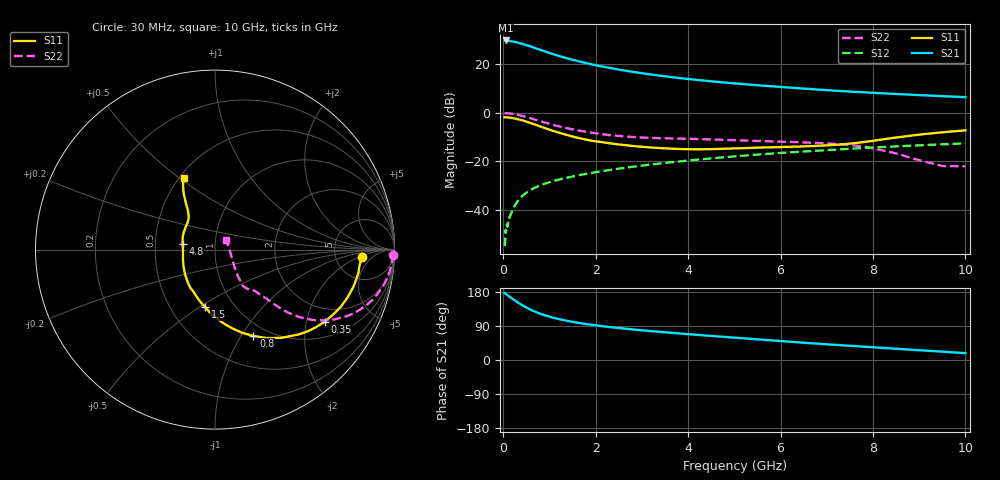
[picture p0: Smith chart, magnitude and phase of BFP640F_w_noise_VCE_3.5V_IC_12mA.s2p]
! Infineon Technologies  Discrete & RF Semiconductors
! BFP640F
! VCE =  3.5 V,  IC =  12 mA
! Common Emitter S-Parameters:  Apr 2013
# GHz  S  MA  R  50
!  f  S11  S21  S12  S22
! GHz  MAG  ANG  MAG  ANG  MAG  ANG  MAG  ANG
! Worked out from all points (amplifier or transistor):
!   99 points, 30 MHz to 10 GHz, reference 50 ohm
!   highest |S21| = 29.9 dB at 50 MHz (marker M1)
!   |S21| within 3 dB of that: start of sweep to 670.1 MHz
!   unconditionally stable (mu >= 1): 2.805 GHz to end of sweep
!   at 350 MHz: K = 0.23, MSG = 32.1 dB, |S12| = -35.4 dB
!   at 3.5 GHz: K = 1.04, MAG = 16.7 dB, |S12| = -20.6 dB
!   at 10 GHz: K = 1.06, MAG = 8.0 dB, |S12| = -12.5 dB
!   lowest NFmin = 0.68 dB at 450 MHz
!   S11 on the Smith chart (normalised r, x): 30 MHz: 9.40, -2.26; 350 MHz: 1.49, -2.58; 800 MHz: 0.85, -1.13; 1.5 GHz: 0.74, -0.53; 4.8 GHz: 0.69, +0.05; 10 GHz: 0.52, +0.52
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0.03  0.8174 -2.8  30.87 176.8  0.0018 68.8  0.9896 -1.6
0.05  0.8132 -5.0  31.18 175.1  0.0039 81.1  0.991 -2.9
0.12  0.8036 -11.9  30.7 168.5  0.006 78.5  0.9804 -7.4
0.2  0.7861 -19.6  29.71 161.5  0.0099 80.1  0.9592 -12.2
0.3  0.7505 -28.9  28.4 153.1  0.0148 78.9  0.9212 -17.7
0.35  0.7318 -33.2  27.49 149.2  0.0169 75.6  0.8984 -20.2
0.4  0.709 -37.6  26.75 145.4  0.019 73.8  0.8738 -22.5
0.5  0.6638 -45.4  24.98 138.6  0.0228 71.1  0.8237 -26.7
0.6  0.6155 -53.0  23.3 132.4  0.0262 69.3  0.7726 -30.2
0.8  0.5265 -66.0  20.05 122.1  0.0323 65.6  0.6784 -35.4
1  0.4533 -77.0  17.29 114.2  0.0374 63.5  0.5978 -38.8
1.1  0.4217 -82.0  16.1 110.9  0.0402 62.8  0.5629 -39.9
1.3  0.369 -91.1  14.08 105.3  0.0448 61.7  0.5056 -41.5
1.5  0.3263 -99.5  12.49 100.6  0.049 61.2  0.4598 -42.4
1.7  0.2952 -107.5  11.19 96.6  0.0537 60.7  0.4227 -43.1
2.5  0.2241 -135.7  7.842 84.4  0.0713 58.8  0.3364 -45.4
3.4  0.1888 -160.7  5.855 74.1  0.0911 56.5  0.3019 -47.8
4.8  0.1833 169.9  4.231 60.8  0.1227 51.4  0.2786 -50.8
5.1  0.1873 165.1  3.998 58.1  0.1297 50.2  0.273 -51.3
6.7  0.2081 140.2  3.087 43.9  0.1649 42.5  0.2429 -52.5
8.5  0.3117 121.7  2.462 29.7  0.205 33.4  0.1468 -42.0
10  0.4378 113.6  2.119 18.1  0.2368 25.3  0.0797 39.6
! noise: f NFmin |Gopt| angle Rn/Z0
0.45  0.68  0.14  8  0.05
0.9  0.68  0.15  19  0.06
1.5  0.69  0.14  28  0.07
1.9  0.7  0.12  43  0.07
2.4  0.73  0.11  55  0.08
3.5  0.82  0.09  90  0.09
5.5  1.01  0.13  -164  0.12
10  1.55  0.4  -95  0.34
